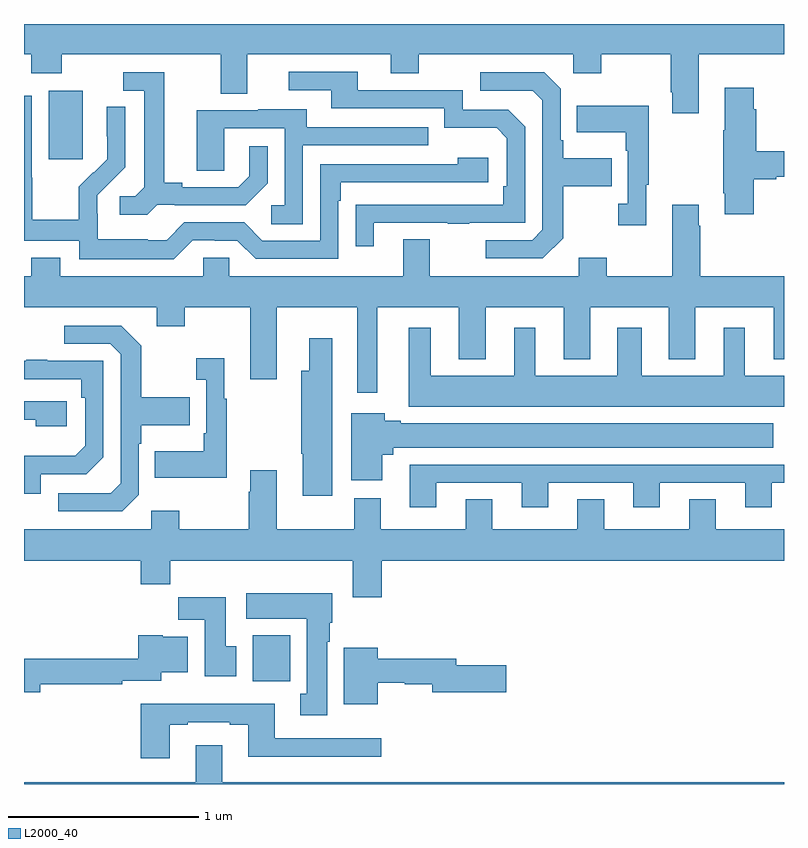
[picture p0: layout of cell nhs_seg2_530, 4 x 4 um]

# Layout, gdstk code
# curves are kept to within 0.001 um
import gdstk
lib = gdstk.Library(unit=1e-6, precision=1e-09)
def R(c, l, rs):  # rectangles x0, y0, x1, y1
    for r in rs: c.add(gdstk.rectangle(r[:2], r[2:], *l))
def P(c, l, *ps):  # polygons
    for p in ps: c.add(gdstk.Polygon(p, *l))
L2000_40 = (2000, 40)

nhs_seg2_530 = lib.new_cell('nhs_seg2_530')
R(nhs_seg2_530, L2000_40, [(138.203,640.34,138.4,640.582), (137.129,643.089,137.308,643.45)])
P(nhs_seg2_530, L2000_40, [(137,643.64),(137.039,643.64),(137.039,643.541),(137.199,643.541),(137.199,643.64),(138.035,643.64),(138.035,643.432),(138.175,643.432),(138.175,643.64),(138.929,643.64),(138.929,643.541),(139.077,643.541),(139.077,643.64),(139.89,643.64),(139.89,643.541),(140.037,643.541),(140.037,643.64),(140.404,643.64),(140.404,643.441),(140.411,643.441),(140.411,643.329),(140.551,643.329),(140.551,643.64),(141,643.64),(141,643.8),(137,643.8)],
  [(138.841,642.753),(139.231,642.753),(139.231,642.748),(139.343,642.748),(139.343,642.753),(139.638,642.753),(139.638,643.26),(139.548,643.35),(139.308,643.35),(139.308,643.452),(138.757,643.452),(138.757,643.548),(138.393,643.548),(138.393,643.452),(138.617,643.452),(138.617,643.356),(139.212,643.356),(139.212,643.253),(139.489,643.253),(139.542,643.2),(139.542,642.946),(139.522,642.946),(139.522,642.849),(138.745,642.848),(138.745,642.63),(138.841,642.63)],
  [(137.7,642.849),(137.794,642.849),(137.794,642.846),(138.166,642.846),(138.282,642.962),(138.282,643.156),(138.185,643.156),(138.185,642.999),(138.128,642.942),(137.833,642.942),(137.833,642.965),(137.737,642.965),(137.737,643.545),(137.523,643.545),(137.523,643.449),(137.633,643.449),(137.633,642.941),(137.586,642.894),(137.505,642.894),(137.505,642.797),(137.648,642.797)],
  [(139.837,642.673),(139.837,642.946),(140.093,642.946),(140.093,643.093),(139.837,643.093),(139.837,643.189),(139.824,643.189),(139.824,643.458),(139.737,643.545),(139.401,643.545),(139.401,643.449),(139.677,643.449),(139.728,643.398),(139.728,642.717),(139.674,642.663),(139.431,642.663),(139.431,642.567),(139.731,642.567)],
  [(140.842,642.983),(140.958,642.983),(140.958,642.995),(141,642.995),(141,643.13),(140.855,643.13),(140.855,643.352),(140.842,643.352),(140.842,643.465),(140.687,643.465),(140.687,643.241),(140.68,643.241),(140.68,642.91),(140.687,642.91),(140.687,642.798),(140.842,642.798)],
  [(137.889,642.663),(138.005,642.663),(138.005,642.66),(138.123,642.66),(138.219,642.564),(138.654,642.564),(138.654,642.869),(138.667,642.869),(138.667,642.966),(139.444,642.966),(139.444,643.096),(139.283,643.096),(139.283,643.062),(138.558,643.062),(138.558,642.66),(138.255,642.66),(138.159,642.756),(137.844,642.756),(137.751,642.663),(137.651,642.663),(137.651,642.667),(137.388,642.667),(137.388,642.801),(137.386,642.801),(137.386,642.898),(137.532,643.046),(137.532,643.364),(137.436,643.364),(137.436,643.21),(137.438,643.21),(137.438,643.088),(137.367,643.017),(137.364,643.02),(137.287,642.943),(137.287,642.769),(137.043,642.769),(137.043,642.992),(137.04,642.992),(137.04,643.422),(137,643.422),(137,642.66),(137.292,642.66),(137.292,642.563),(137.789,642.563)],
  [(140.275,642.953),(140.287,642.953),(140.287,643.369),(139.909,643.369),(139.909,643.229),(140.166,643.229),(140.166,643.133),(140.178,643.133),(140.178,642.854),(140.127,642.854),(140.127,642.741),(140.275,642.741)],
  [(138.468,643.161),(139.127,643.161),(139.127,643.257),(138.487,643.257),(138.487,643.351),(138.233,643.351),(138.233,643.347),(137.909,643.347),(137.909,643.027),(138.054,643.027),(138.054,643.251),(138.372,643.251),(138.372,642.846),(138.3,642.846),(138.3,642.745),(138.468,642.745)],
  [(140.067,642.571),(139.919,642.571),(139.919,642.472),(139.135,642.472),(139.135,642.667),(138.995,642.667),(138.995,642.472),(138.081,642.472),(138.081,642.57),(137.943,642.57),(137.943,642.472),(137.191,642.472),(137.191,642.571),(137.039,642.571),(137.039,642.472),(137,642.472),(137,642.308),(137.699,642.308),(137.699,642.209),(137.847,642.209),(137.847,642.308),(138.191,642.308),(138.191,641.931),(138.331,641.931),(138.331,642.308),(138.755,642.308),(138.755,641.859),(138.859,641.859),(138.859,642.308),(139.289,642.308),(139.289,642.035),(139.429,642.035),(139.429,642.308),(139.841,642.308),(139.841,642.035),(139.981,642.035),(139.981,642.308),(140.393,642.308),(140.393,642.035),(140.533,642.035),(140.533,642.308),(140.945,642.308),(140.945,642.035),(141,642.035),(141,642.472),(140.559,642.472),(140.559,642.737),(140.551,642.737),(140.551,642.85),(140.411,642.85),(140.411,642.472),(140.067,642.472)],
  [(137.604,641.322),(137.604,641.591),(137.617,641.591),(137.617,641.687),(137.873,641.687),(137.873,641.835),(137.617,641.835),(137.617,642.107),(137.511,642.213),(137.211,642.213),(137.211,642.117),(137.454,642.117),(137.508,642.063),(137.508,641.382),(137.457,641.331),(137.181,641.331),(137.181,641.235),(137.517,641.235)],
  [(141,641.95),(140.794,641.95),(140.794,642.202),(140.684,642.202),(140.684,641.95),(140.251,641.95),(140.251,642.202),(140.123,642.202),(140.123,641.95),(139.69,641.95),(139.69,642.202),(139.58,642.202),(139.58,641.95),(139.141,641.95),(139.141,642.202),(139.025,642.202),(139.025,641.786),(141,641.786)],
  [(138.622,642.145),(138.5,642.145),(138.5,641.974),(138.46,641.974),(138.46,641.539),(138.467,641.539),(138.467,641.316),(138.622,641.316)],
  [(138.067,641.827),(138.055,641.827),(138.055,642.04),(137.907,642.04),(137.907,641.927),(137.958,641.927),(137.958,641.647),(137.946,641.647),(137.946,641.551),(137.689,641.551),(137.689,641.411),(138.067,641.411)],
  [(137.088,641.43),(137.328,641.43),(137.418,641.52),(137.418,642.027),(137.123,642.027),(137.123,642.032),(137.011,642.032),(137.011,642.027),(137,642.027),(137,641.931),(137.302,641.931),(137.302,641.834),(137.322,641.834),(137.322,641.58),(137.269,641.527),(137,641.527),(137,641.328),(137.088,641.328)],
  [(137.224,641.814),(137,641.814),(137,641.718),(137.063,641.718),(137.063,641.684),(137.224,641.684)],
  [(138.886,641.534),(138.943,641.534),(138.943,641.57),(140.944,641.57),(140.944,641.698),(138.982,641.698),(138.982,641.711),(138.899,641.711),(138.899,641.752),(138.722,641.752),(138.722,641.4),(138.886,641.4)],
  [(139.171,641.385),(139.619,641.385),(139.619,641.256),(139.759,641.256),(139.759,641.385),(140.207,641.385),(140.207,641.256),(140.347,641.256),(140.347,641.385),(140.795,641.385),(140.795,641.256),(140.935,641.256),(140.935,641.385),(141,641.385),(141,641.481),(139.031,641.481),(139.031,641.256),(139.171,641.256)],
  [(138.884,640.976),(141,640.976),(141,641.14),(140.641,641.14),(140.641,641.3),(140.501,641.3),(140.501,641.14),(140.053,641.14),(140.053,641.3),(139.913,641.3),(139.913,641.14),(139.465,641.14),(139.465,641.3),(139.325,641.3),(139.325,641.14),(138.877,641.14),(138.877,641.305),(138.737,641.305),(138.737,641.14),(138.331,641.14),(138.331,641.452),(138.191,641.452),(138.191,641.339),(138.184,641.339),(138.184,641.14),(137.817,641.14),(137.817,641.239),(137.67,641.239),(137.67,641.14),(137,641.14),(137,640.976),(137.615,640.976),(137.615,640.852),(137.771,640.852),(137.771,640.976),(138.731,640.976),(138.731,640.782),(138.884,640.782)],
  [(138.595,640.55),(138.61,640.55),(138.61,640.65),(138.622,640.65),(138.622,640.804),(138.171,640.804),(138.171,640.67),(138.488,640.67),(138.488,640.274),(138.455,640.274),(138.455,640.161),(138.595,640.161)],
  [(138.118,640.524),(138.061,640.524),(138.061,640.783),(137.812,640.783),(137.812,640.664),(137.951,640.664),(137.951,640.368),(138.118,640.368)],
  [(137.086,640.324),(137.516,640.324),(137.516,640.344),(137.722,640.344),(137.722,640.388),(137.863,640.388),(137.863,640.576),(137.73,640.576),(137.73,640.582),(137.6,640.582),(137.6,640.46),(137,640.46),(137,640.282),(137.086,640.282)],
  [(138.862,640.332),(139.005,640.332),(139.005,640.324),(139.148,640.324),(139.148,640.282),(139.537,640.282),(139.537,640.424),(139.276,640.424),(139.276,640.46),(138.862,640.46),(138.862,640.516),(138.683,640.516),(138.683,640.22),(138.862,640.22)],
  [(137.767,640.113),(137.863,640.113),(137.863,640.125),(138.083,640.125),(138.083,640.113),(138.179,640.113),(138.179,639.944),(138.88,639.944),(138.88,640.041),(138.319,640.041),(138.319,640.222),(137.615,640.222),(137.615,639.936),(137.767,639.936)],
  [(141,639.808),(138.043,639.808),(138.043,640.003),(137.903,640.003),(137.903,639.808),(137,639.808),(137,639.8),(141,639.8)])

lib.write_gds('nhs_seg2_530.gds')
